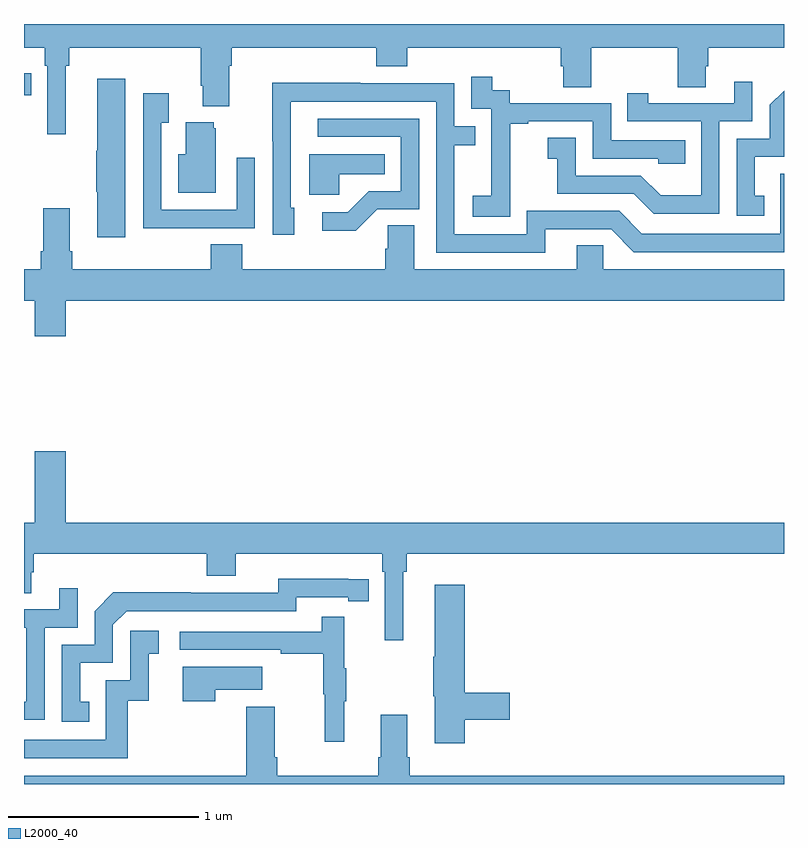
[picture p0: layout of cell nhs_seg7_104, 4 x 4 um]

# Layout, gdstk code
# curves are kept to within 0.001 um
import gdstk
lib = gdstk.Library(unit=1e-6, precision=1e-09)
def R(c, l, rs):  # rectangles x0, y0, x1, y1
    for r in rs: c.add(gdstk.rectangle(r[:2], r[2:], *l))
def P(c, l, *ps):  # polygons
    for p in ps: c.add(gdstk.Polygon(p, *l))
L2000_40 = (2000, 40)

nhs_seg7_104 = lib.new_cell('nhs_seg7_104')
R(nhs_seg7_104, L2000_40, [(117,1073.626,117.038,1073.742)])
P(nhs_seg7_104, L2000_40, [(117.22,1073.78),(117.239,1073.78),(117.239,1073.876),(117.929,1073.876),(117.929,1073.674),(117.941,1073.674),(117.941,1073.567),(118.081,1073.567),(118.081,1073.78),(118.094,1073.78),(118.094,1073.876),(118.853,1073.876),(118.853,1073.777),(119.018,1073.777),(119.018,1073.876),(119.825,1073.876),(119.825,1073.778),(119.837,1073.778),(119.837,1073.668),(119.985,1073.668),(119.985,1073.876),(120.442,1073.876),(120.442,1073.668),(120.589,1073.668),(120.589,1073.778),(120.602,1073.778),(120.602,1073.876),(121,1073.876),(121,1074),(117,1074),(117,1073.876),(117.11,1073.876),(117.11,1073.78),(117.123,1073.78),(117.123,1073.421),(117.22,1073.421)],
  [(119.559,1073.191),(119.558,1073.191),(119.558,1073.475),(119.653,1073.475),(119.653,1073.487),(119.994,1073.487),(119.994,1073.292),(120.339,1073.292),(120.339,1073.265),(120.479,1073.265),(120.479,1073.388),(120.09,1073.388),(120.09,1073.583),(119.556,1073.583),(119.556,1073.652),(119.464,1073.652),(119.464,1073.722),(119.355,1073.722),(119.355,1073.553),(119.46,1073.553),(119.46,1073.324),(119.459,1073.324),(119.459,1073.095),(119.361,1073.095),(119.361,1072.985),(119.559,1072.985)],
  [(117.532,1073.713),(117.386,1073.713),(117.386,1073.333),(117.379,1073.333),(117.379,1073.116),(117.386,1073.116),(117.386,1072.878),(117.532,1072.878)],
  [(120.66,1073.487),(120.834,1073.487),(120.834,1073.695),(120.737,1073.695),(120.737,1073.583),(120.286,1073.583),(120.286,1073.635),(120.175,1073.635),(120.175,1073.487),(120.564,1073.487),(120.564,1073.098),(120.35,1073.098),(120.246,1073.202),(119.904,1073.202),(119.904,1073.401),(119.757,1073.401),(119.757,1073.291),(119.806,1073.291),(119.806,1073.106),(120.209,1073.106),(120.314,1073.001),(120.66,1073.001)],
  [(119.743,1072.92),(120.09,1072.92),(120.21,1072.8),(121,1072.8),(121,1073.211),(120.981,1073.211),(120.981,1072.896),(120.252,1072.896),(120.132,1073.016),(119.646,1073.016),(119.646,1072.893),(119.265,1072.893),(119.265,1073.362),(119.375,1073.362),(119.375,1073.463),(119.265,1073.463),(119.265,1073.688),(118.769,1073.688),(118.769,1073.69),(118.306,1073.69),(118.306,1073.383),(118.308,1073.383),(118.308,1072.89),(118.423,1072.89),(118.423,1073.034),(118.404,1073.034),(118.405,1073.592),(119.169,1073.592),(119.169,1072.797),(119.743,1072.797)],
  [(120.896,1073.097),(120.847,1073.097),(120.847,1073.301),(121,1073.301),(121,1073.65),(120.924,1073.574),(120.924,1073.397),(120.75,1073.397),(120.75,1072.992),(120.896,1072.992)],
  [(117.899,1072.926),(118.215,1072.926),(118.215,1073.296),(118.119,1073.296),(118.119,1073.022),(117.723,1073.022),(117.723,1073.479),(117.763,1073.479),(117.763,1073.635),(117.627,1073.635),(117.627,1072.925),(117.899,1072.925)],
  [(118.86,1073.025),(119.079,1073.025),(119.079,1073.502),(118.545,1073.502),(118.545,1073.406),(118.983,1073.406),(118.983,1073.121),(118.814,1073.121),(118.703,1073.01),(118.569,1073.01),(118.569,1072.913),(118.747,1072.913)],
  [(118.009,1073.451),(117.998,1073.451),(117.998,1073.482),(117.851,1073.482),(117.851,1073.314),(117.812,1073.314),(117.812,1073.111),(118.009,1073.111)],
  [(118.659,1073.21),(118.898,1073.21),(118.898,1073.314),(118.502,1073.314),(118.502,1073.102),(118.659,1073.102)],
  [(117.22,1072.544),(121,1072.544),(121,1072.708),(120.048,1072.708),(120.048,1072.835),(119.909,1072.835),(119.909,1072.708),(119.053,1072.708),(119.053,1072.94),(118.914,1072.94),(118.914,1072.817),(118.901,1072.817),(118.901,1072.708),(118.148,1072.708),(118.148,1072.841),(117.983,1072.841),(117.983,1072.708),(117.254,1072.708),(117.254,1072.804),(117.241,1072.804),(117.241,1073.029),(117.101,1073.029),(117.101,1072.804),(117.089,1072.804),(117.089,1072.708),(117,1072.708),(117,1072.544),(117.056,1072.544),(117.056,1072.356),(117.22,1072.356)],
  [(118.996,1071.116),(119.015,1071.116),(119.015,1071.212),(121,1071.212),(121,1071.376),(117.22,1071.376),(117.22,1071.751),(117.056,1071.751),(117.056,1071.376),(117,1071.376),(117,1071.004),(117.037,1071.004),(117.037,1071.114),(117.05,1071.114),(117.05,1071.212),(117.962,1071.212),(117.962,1071.095),(118.114,1071.095),(118.114,1071.212),(118.886,1071.212),(118.886,1071.116),(118.899,1071.116),(118.899,1070.757),(118.996,1070.757)],
  [(117.344,1070.433),(117.295,1070.433),(117.295,1070.637),(117.468,1070.637),(117.468,1070.838),(117.54,1070.91),(118.434,1070.91),(118.434,1070.982),(118.706,1070.982),(118.706,1070.962),(118.814,1070.962),(118.814,1071.078),(118.338,1071.079),(118.338,1071.006),(117.878,1071.006),(117.878,1071.008),(117.47,1071.008),(117.372,1070.91),(117.372,1070.733),(117.198,1070.733),(117.198,1070.328),(117.344,1070.328)],
  [(119.321,1070.338),(119.557,1070.338),(119.557,1070.48),(119.321,1070.48),(119.321,1071.049),(119.162,1071.049),(119.162,1070.669),(119.155,1070.669),(119.155,1070.463),(119.162,1070.463),(119.162,1070.214),(119.321,1070.214)],
  [(117.108,1070.823),(117.282,1070.823),(117.282,1071.031),(117.185,1071.031),(117.185,1070.919),(117,1070.919),(117,1070.823),(117.012,1070.823),(117.012,1070.434),(117,1070.434),(117,1070.337),(117.108,1070.337)],
  [(118.685,1070.435),(118.696,1070.435),(118.696,1070.609),(118.685,1070.609),(118.685,1070.881),(118.567,1070.881),(118.567,1070.802),(117.819,1070.802),(117.819,1070.706),(118.351,1070.706),(118.351,1070.686),(118.575,1070.686),(118.575,1070.472),(118.582,1070.472),(118.582,1070.223),(118.685,1070.223)],
  [(117.545,1070.439),(117.656,1070.439),(117.656,1070.685),(117.709,1070.685),(117.709,1070.806),(117.558,1070.806),(117.558,1070.547),(117.429,1070.547),(117.429,1070.232),(117,1070.232),(117,1070.136),(117.545,1070.136)],
  [(118.007,1070.495),(118.255,1070.495),(118.255,1070.617),(117.836,1070.617),(117.836,1070.436),(118.007,1070.436)],
  [(121,1070.044),(119.03,1070.044),(119.03,1070.14),(119.017,1070.14),(119.017,1070.365),(118.877,1070.365),(118.877,1070.14),(118.865,1070.14),(118.865,1070.044),(118.334,1070.044),(118.334,1070.14),(118.321,1070.14),(118.321,1070.407),(118.169,1070.407),(118.169,1070.044),(117,1070.044),(117,1070),(121,1070)])

lib.write_gds('nhs_seg7_104.gds')
